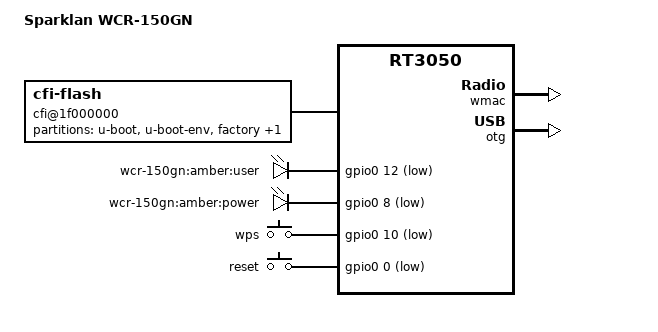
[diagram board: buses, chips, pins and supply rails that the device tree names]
/dts-v1/;

#include "rt3050.dtsi"

#include <dt-bindings/gpio/gpio.h>
#include <dt-bindings/input/input.h>

/ {
	compatible = "sparklan,wcr150gn", "ralink,rt3050-soc";
	model = "Sparklan WCR-150GN";

	aliases {
		led-boot = &led_power;
		led-failsafe = &led_power;
		led-running = &led_power;
		led-upgrade = &led_power;
	};

	cfi@1f000000 {
		compatible = "cfi-flash";
		reg = <0x1f000000 0x800000>;
		bank-width = <2>;
		device-width = <2>;

		partitions {
			compatible = "fixed-partitions";
			#address-cells = <1>;
			#size-cells = <1>;

			partition@0 {
				label = "u-boot";
				reg = <0x0 0x30000>;
				read-only;
			};

			partition@30000 {
				label = "u-boot-env";
				reg = <0x30000 0x10000>;
				read-only;
			};

			factory: partition@40000 {
				label = "factory";
				reg = <0x40000 0x10000>;
				read-only;
			};

			partition@50000 {
				compatible = "denx,uimage";
				label = "firmware";
				reg = <0x50000 0x3b0000>;
			};
		};
	};

	gpio-leds {
		compatible = "gpio-leds";

		user {
			label = "wcr-150gn:amber:user";
			gpios = <&gpio0 12 GPIO_ACTIVE_LOW>;
			trigger-sources = <&otg_port1>;
			linux,default-trigger = "usbport";
		};

		led_power: power {
			label = "wcr-150gn:amber:power";
			gpios = <&gpio0 8 GPIO_ACTIVE_LOW>;
		};
	};

	gpio-keys-polled {
		compatible = "gpio-keys-polled";
		poll-interval = <20>;

		wps {
			label = "wps";
			gpios = <&gpio0 10 GPIO_ACTIVE_LOW>;
			linux,code = <KEY_WPS_BUTTON>;
		};

		reset {
			label = "reset";
			gpios = <&gpio0 0 GPIO_ACTIVE_LOW>;
			linux,code = <KEY_RESTART>;
		};
	};
};

&pinctrl {
	state_default: pinctrl0 {
		gpio {
			ralink,group = "spi", "i2c", "jtag", "rgmii", "mdio", "uartf";
			ralink,function = "gpio";
		};
	};
};

&ethernet {
	mtd-mac-address = <&factory 0x4>;
};

&esw {
	mediatek,portmap = <0x2f>;
};

&wmac {
	ralink,mtd-eeprom = <&factory 0>;
};

&otg {
	status = "okay";
};
